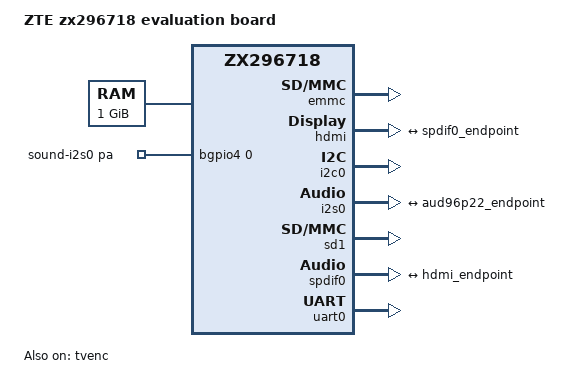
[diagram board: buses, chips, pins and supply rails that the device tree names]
/*
 * Copyright 2016 ZTE Corporation.
 * Copyright 2016 Linaro Ltd.
 *
 * This file is dual-licensed: you can use it either under the terms
 * of the GPL or the X11 license, at your option. Note that this dual
 * licensing only applies to this file, and not this project as a
 * whole.
 *
 *  a) This library is free software; you can redistribute it and/or
 *     modify it under the terms of the GNU General Public License as
 *     published by the Free Software Foundation; either version 2 of the
 *     License, or (at your option) any later version.
 *
 *     This library is distributed in the hope that it will be useful,
 *     but WITHOUT ANY WARRANTY; without even the implied warranty of
 *     MERCHANTABILITY or FITNESS FOR A PARTICULAR PURPOSE.  See the
 *     GNU General Public License for more details.
 *
 * Or, alternatively,
 *
 *  b) Permission is hereby granted, free of charge, to any person
 *     obtaining a copy of this software and associated documentation
 *     files (the "Software"), to deal in the Software without
 *     restriction, including without limitation the rights to use,
 *     copy, modify, merge, publish, distribute, sublicense, and/or
 *     sell copies of the Software, and to permit persons to whom the
 *     Software is furnished to do so, subject to the following
 *     conditions:
 *
 *     The above copyright notice and this permission notice shall be
 *     included in all copies or substantial portions of the Software.
 *
 *     THE SOFTWARE IS PROVIDED "AS IS", WITHOUT WARRANTY OF ANY KIND,
 *     EXPRESS OR IMPLIED, INCLUDING BUT NOT LIMITED TO THE WARRANTIES
 *     OF MERCHANTABILITY, FITNESS FOR A PARTICULAR PURPOSE AND
 *     NONINFRINGEMENT. IN NO EVENT SHALL THE AUTHORS OR COPYRIGHT
 *     HOLDERS BE LIABLE FOR ANY CLAIM, DAMAGES OR OTHER LIABILITY,
 *     WHETHER IN AN ACTION OF CONTRACT, TORT OR OTHERWISE, ARISING
 *     FROM, OUT OF OR IN CONNECTION WITH THE SOFTWARE OR THE USE OR
 *     OTHER DEALINGS IN THE SOFTWARE.
 */

/dts-v1/;
#include "zx296718.dtsi"

/ {
	model = "ZTE zx296718 evaluation board";
	compatible = "zte,zx296718-evb", "zte,zx296718";

	chosen {
		stdout-path = "serial0:115200n8";
	};

	memory@40000000 {
		device_type = "memory";
		reg = <0x40000000 0x40000000>;
	};

	sound-spdif0 {
		compatible = "audio-graph-card";
		dais = <&spdif0_port>;
	};

	sound-i2s0 {
		compatible = "audio-graph-card";
		dais = <&i2s0_port>;
		pinctrl-names = "default";
		pinctrl-0 = <&amplifier_pins>;
		pa-gpios = <&bgpio4 0 GPIO_ACTIVE_HIGH>;
		widgets = "Line", "Line Out Jack";
		routing = "Amplifier", "LINEOUTL",
			  "Amplifier", "LINEOUTR",
			  "Line Out Jack", "Amplifier";
	};
};

&aud96p22 {
	port {
		aud96p22_endpoint: endpoint {
			remote-endpoint = <&i2s0_endpoint>;
		};
	};
};

&emmc {
	status = "okay";
};

&hdmi {
	status = "okay";

	port {
		hdmi_endpoint: endpoint {
			remote-endpoint = <&spdif0_endpoint>;
		};
	};
};

&i2c0 {
	status = "okay";
};

&i2s0 {
	status = "okay";

	i2s0_port: port {
		i2s0_endpoint: endpoint {
			remote-endpoint = <&aud96p22_endpoint>;
			dai-format = "i2s";
			frame-master;
			bitclock-master;
		};
	};
};

&pmm {
	amplifier_pins: amplifier {
		pins = "TSI3_DATA";
		function = "BGPIO";
	};
};

&sd1 {
	status = "okay";
};

&spdif0 {
	status = "okay";

	spdif0_port: port {
		spdif0_endpoint: endpoint {
			remote-endpoint = <&hdmi_endpoint>;
		};
	};
};

&tvenc {
	status = "okay";
};

&uart0 {
	status = "okay";
};
